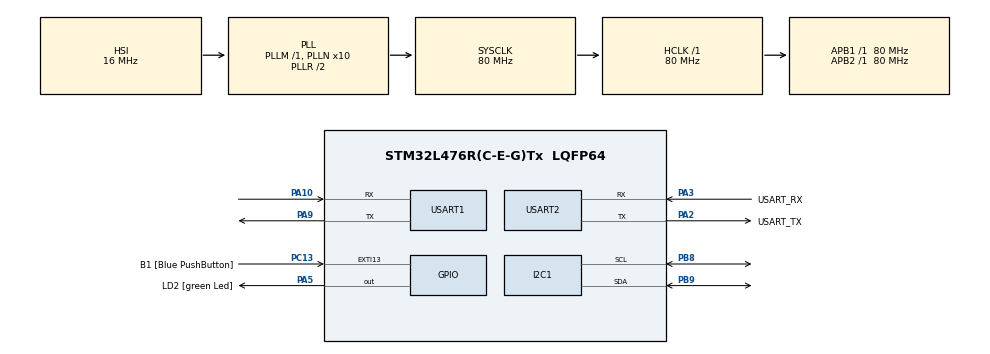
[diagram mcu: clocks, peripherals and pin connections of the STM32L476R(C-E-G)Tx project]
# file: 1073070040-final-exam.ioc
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I2C1.Timing=0x10909CEC
Mcu.Family=STM32L4
Mcu.Name=STM32L476R(C-E-G)Tx
Mcu.Package=LQFP64
NVIC.PriorityGroup=NVIC_PRIORITYGROUP_4
NVIC.USART1_IRQn=true\:0\:0\:false\:false\:true\:true\:true\:true
NVIC.USART2_IRQn=true\:0\:0\:false\:false\:true\:true\:true\:true
PA10.Mode=Asynchronous
PA10.Signal=USART1_RX
PA13\ (JTMS-SWDIO).GPIO_Label=TMS
PA13\ (JTMS-SWDIO).Mode=Serial_Wire
PA13\ (JTMS-SWDIO).Signal=SYS_JTMS-SWDIO
PA14\ (JTCK-SWCLK).GPIO_Label=TCK
PA14\ (JTCK-SWCLK).Mode=Serial_Wire
PA14\ (JTCK-SWCLK).Signal=SYS_JTCK-SWCLK
PA2.GPIO_Label=USART_TX
PA2.GPIO_Mode=GPIO_MODE_AF_PP
PA2.GPIO_PuPd=GPIO_NOPULL
PA2.GPIO_Speed=GPIO_SPEED_FREQ_VERY_HIGH
PA2.Mode=Asynchronous
PA2.Signal=USART2_TX
PA3.GPIO_Label=USART_RX
PA3.GPIO_Mode=GPIO_MODE_AF_PP
PA3.GPIO_PuPd=GPIO_NOPULL
PA3.GPIO_Speed=GPIO_SPEED_FREQ_VERY_HIGH
PA3.Mode=Asynchronous
PA3.Signal=USART2_RX
PA5.GPIO_Label=LD2 [green Led]
PA5.GPIO_ModeDefaultOutputPP=GPIO_MODE_OUTPUT_PP
PA5.GPIO_PuPd=GPIO_NOPULL
PA5.GPIO_Speed=GPIO_SPEED_FREQ_LOW
PA5.Signal=GPIO_Output
PA9.Mode=Asynchronous
PA9.Signal=USART1_TX
PB3\ (JTDO-TRACESWO).GPIO_Label=SWO
PB3\ (JTDO-TRACESWO).Signal=SYS_JTDO-SWO
PB8.Mode=I2C
PB8.Signal=I2C1_SCL
PB9.Mode=I2C
PB9.Signal=I2C1_SDA
PC13.GPIO_Label=B1 [Blue PushButton]
PC13.GPIO_ModeDefaultEXTI=GPIO_MODE_IT_FALLING
PC13.GPIO_PuPd=GPIO_NOPULL
PC13.Signal=GPXTI13
PC14-OSC32_IN\ (PC14).Mode=LSE-External-Oscillator
PC14-OSC32_IN\ (PC14).Signal=RCC_OSC32_IN
PC15-OSC32_OUT\ (PC15).Mode=LSE-External-Oscillator
PC15-OSC32_OUT\ (PC15).Signal=RCC_OSC32_OUT
PH0-OSC_IN\ (PH0).Signal=RCC_OSC_IN
PH1-OSC_OUT\ (PH1).Signal=RCC_OSC_OUT
ProjectManager.HeapSize=0x200
ProjectManager.StackSize=0x400
ProjectManager.TargetToolchain=STM32CubeIDE
RCC.ADCFreq_Value=64000000
RCC.AHBFreq_Value=80000000
RCC.APB1Freq_Value=80000000
RCC.APB1TimFreq_Value=80000000
RCC.APB2Freq_Value=80000000
RCC.APB2TimFreq_Value=80000000
RCC.CortexFreq_Value=80000000
RCC.HCLKFreq_Value=80000000
RCC.HSE_VALUE=8000000
RCC.HSI_VALUE=16000000
RCC.MSI_VALUE=4000000
RCC.PLLN=10
RCC.PLLSourceVirtual=RCC_PLLSOURCE_HSI
RCC.PREFETCH_ENABLE=1
RCC.SYSCLKFreq_VALUE=80000000
RCC.SYSCLKSource=RCC_SYSCLKSOURCE_PLLCLK
RCC.USBFreq_Value=64000000
RCC.VCOOutputFreq_Value=160000000
USART1.VirtualMode-Asynchronous=VM_ASYNC
USART2.VirtualMode-Asynchronous=VM_ASYNC
board=NUCLEO-L476RG

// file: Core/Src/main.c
/* USER CODE BEGIN Header */
/**
  ******************************************************************************
  * @file           : main.c
  * @brief          : Main program body
  ******************************************************************************
  * @attention
  *
  * Copyright (c) 2023 STMicroelectronics.
  * All rights reserved.
  *
  * This software is licensed under terms that can be found in the LICENSE file
  * in the root directory of this software component.
  * If no LICENSE file comes with this software, it is provided AS-IS.
  *
  ******************************************************************************
  */
/* USER CODE END Header */
#include "main.h"

/* USER CODE BEGIN Includes */
#include <ssd1306.h>
#include<ring_buffer.h>
#include "string.h"

/* USER CODE END Includes */

I2C_HandleTypeDef hi2c1;

UART_HandleTypeDef huart1;
UART_HandleTypeDef huart2;

void SystemClock_Config(void);
static void MX_GPIO_Init(void);
static void MX_USART2_UART_Init(void);
static void MX_I2C1_Init(void);
static void MX_USART1_UART_Init(void);

/* USER CODE BEGIN 0 */
ring_buffer_t ring_buffer_data;
uint8_t data[10];
uint8_t fail_counter;
ring_buffer_t ring_buffer_uart_rx;
uint8_t rx_buffer[16];
uint8_t rx_data[10];
uint8_t contcc;
uint8_t password[] = {1,0,7,3,0,7,0,0,4,0};
uint8_t error = 0;

void HAL_UART_RxCpltCallback(UART_HandleTypeDef *huart)
{
	ring_buffer_put(&ring_buffer_uart_rx, data);
	HAL_UART_Receive_IT(&huart2, &data, 1);
}

int memcmp(const void *str1, const void *str2, size_t n);
/* USER CODE END 0 */

int main(void)
{

  /* MCU Configuration--------------------------------------------------------*/

  /* Reset of all peripherals, Initializes the Flash interface and the Systick. */
  HAL_Init();

  /* Configure the system clock */
  SystemClock_Config();

  /* Initialize all configured peripherals */
  MX_GPIO_Init();
  MX_USART2_UART_Init();
  MX_I2C1_Init();
  MX_USART1_UART_Init();
  /* USER CODE BEGIN 2 */
  ssd1306_Init();
  ring_buffer_init(&ring_buffer_uart_rx, rx_buffer, 10);
  /* USER CODE END 2 */

  /* Infinite loop */
  /* USER CODE BEGIN WHILE */

  	  ssd1306_Fill(Black);
  	  ssd1306_SetCursor(20, 20);
  	  ssd1306_WriteString("WAITING...", Font_11x18, White);
  	  ssd1306_UpdateScreen();
  	  HAL_UART_Receive_IT(&huart2, rx_data, 1	);

  	while (1) {

  		if (data == 0) {
  		ring_buffer_reset(&ring_buffer_uart_rx);
  		memset(rx_buffer, '\0', sizeof(rx_buffer));
  		ssd1306_Fill(Black);
  		ssd1306_SetCursor(20, 20);
  		ssd1306_WriteString("WAITING...", Font_11x18, White);
  		ssd1306_UpdateScreen();
  	    HAL_Delay(1000); // Espera 1 segundo

  	    // Borra la pantalla OLED y muestra el contenido recibido
  	    ssd1306_Fill(Black);
  	    ssd1306_SetCursor(20, 20);
  	    ssd1306_WriteString(rx_data, Font_11x18, White);
  	    ssd1306_UpdateScreen();

  	    uint16_t size = ring_buffer_size(&ring_buffer_uart_rx); // Obtiene el tamaño del buffer

  	    ring_buffer_put(&ring_buffer_uart_rx, data); // Pone datos en el buffer
  	    contcc++; // Incrementa el contador

  	    // Cada 10 iteraciones, muestra la secuencia en la pantalla y reinicia el contador
  	    if (contcc == 10) {
  	        printf("The sequence is %x, %x, %x, %x, %x \r\n", rx_buffer[0], rx_buffer[1], rx_buffer[2], rx_buffer[3], rx_buffer[4]);
  	        contcc = 0; // Reinicia el contador
  	    }

  	    // Si se recibe algún dato, reinicia el buffer y la pantalla muestra 'WAITING...'

  	    }

  	    // Si la secuencia recibida coincide con la contraseña y el buffer está lleno, muestra 'PASS' en la pantalla
  	    if ((memcmp(rx_buffer, password, 10) == 0) && (ring_buffer_is_full(&ring_buffer_uart_rx) == 1)) {
  	        ssd1306_Fill(White);
  	        ssd1306_SetCursor(20, 20);
  	        ssd1306_WriteString("Success", Font_11x18, Black);
  	        ssd1306_UpdateScreen();
  	    }

  	    // Si la secuencia recibida no coincide con la contraseña y el buffer está lleno, muestra 'FAIL' en la pantalla
  	    if ((memcmp(rx_buffer, password, 10) != 0) && (ring_buffer_is_full(&ring_buffer_uart_rx) == 1)) {
  	        ssd1306_Fill(Black);
  	        ssd1306_SetCursor(20, 20);
  	        ssd1306_WriteString("Failed", Font_11x18, White);
  	        ssd1306_UpdateScreen();
  	        error ++;
  	        ring_buffer_reset(&ring_buffer_uart_rx);

  	    }
  	    HAL_Delay(1000);
  	    if (error == 3){
  	    	ssd1306_Fill(Black);
  	    	ssd1306_SetCursor(20, 20);
  	    	ssd1306_WriteString("Blocked", Font_11x18, White);
  	    	ssd1306_UpdateScreen();
  	    	HAL_Delay(1000);
  	    	error = 0; //Se reinicia el error a 0
  	    	        }
  	}
  	}
  /* USER CODE END 3 */

void SystemClock_Config(void)
{
  RCC_OscInitTypeDef RCC_OscInitStruct = {0};
  RCC_ClkInitTypeDef RCC_ClkInitStruct = {0};

  /** Configure the main internal regulator output voltage
  */
  if (HAL_PWREx_ControlVoltageScaling(PWR_REGULATOR_VOLTAGE_SCALE1) != HAL_OK)
  {
    Error_Handler();
  }

  /** Initializes the RCC Oscillators according to the specified parameters
  * in the RCC_OscInitTypeDef structure.
  */
  RCC_OscInitStruct.OscillatorType = RCC_OSCILLATORTYPE_HSI;
  RCC_OscInitStruct.HSIState = RCC_HSI_ON;
  RCC_OscInitStruct.HSICalibrationValue = RCC_HSICALIBRATION_DEFAULT;
  RCC_OscInitStruct.PLL.PLLState = RCC_PLL_ON;
  RCC_OscInitStruct.PLL.PLLSource = RCC_PLLSOURCE_HSI;
  RCC_OscInitStruct.PLL.PLLM = 1;
  RCC_OscInitStruct.PLL.PLLN = 10;
  RCC_OscInitStruct.PLL.PLLP = RCC_PLLP_DIV7;
  RCC_OscInitStruct.PLL.PLLQ = RCC_PLLQ_DIV2;
  RCC_OscInitStruct.PLL.PLLR = RCC_PLLR_DIV2;
  if (HAL_RCC_OscConfig(&RCC_OscInitStruct) != HAL_OK)
  {
    Error_Handler();
  }

  /** Initializes the CPU, AHB and APB buses clocks
  */
  RCC_ClkInitStruct.ClockType = RCC_CLOCKTYPE_HCLK|RCC_CLOCKTYPE_SYSCLK
                              |RCC_CLOCKTYPE_PCLK1|RCC_CLOCKTYPE_PCLK2;
  RCC_ClkInitStruct.SYSCLKSource = RCC_SYSCLKSOURCE_PLLCLK;
  RCC_ClkInitStruct.AHBCLKDivider = RCC_SYSCLK_DIV1;
  RCC_ClkInitStruct.APB1CLKDivider = RCC_HCLK_DIV1;
  RCC_ClkInitStruct.APB2CLKDivider = RCC_HCLK_DIV1;

  if (HAL_RCC_ClockConfig(&RCC_ClkInitStruct, FLASH_LATENCY_4) != HAL_OK)
  {
    Error_Handler();
  }
}

static void MX_I2C1_Init(void)
{

  hi2c1.Instance = I2C1;
  hi2c1.Init.Timing = 0x10909CEC;
  hi2c1.Init.OwnAddress1 = 0;
  hi2c1.Init.AddressingMode = I2C_ADDRESSINGMODE_7BIT;
  hi2c1.Init.DualAddressMode = I2C_DUALADDRESS_DISABLE;
  hi2c1.Init.OwnAddress2 = 0;
  hi2c1.Init.OwnAddress2Masks = I2C_OA2_NOMASK;
  hi2c1.Init.GeneralCallMode = I2C_GENERALCALL_DISABLE;
  hi2c1.Init.NoStretchMode = I2C_NOSTRETCH_DISABLE;
  if (HAL_I2C_Init(&hi2c1) != HAL_OK)
  {
    Error_Handler();
  }

  /** Configure Analogue filter
  */
  if (HAL_I2CEx_ConfigAnalogFilter(&hi2c1, I2C_ANALOGFILTER_ENABLE) != HAL_OK)
  {
    Error_Handler();
  }

  /** Configure Digital filter
  */
  if (HAL_I2CEx_ConfigDigitalFilter(&hi2c1, 0) != HAL_OK)
  {
    Error_Handler();
  }

}

static void MX_USART1_UART_Init(void)
{

  huart1.Instance = USART1;
  huart1.Init.BaudRate = 115200;
  huart1.Init.WordLength = UART_WORDLENGTH_8B;
  huart1.Init.StopBits = UART_STOPBITS_1;
  huart1.Init.Parity = UART_PARITY_NONE;
  huart1.Init.Mode = UART_MODE_TX_RX;
  huart1.Init.HwFlowCtl = UART_HWCONTROL_NONE;
  huart1.Init.OverSampling = UART_OVERSAMPLING_16;
  huart1.Init.OneBitSampling = UART_ONE_BIT_SAMPLE_DISABLE;
  huart1.AdvancedInit.AdvFeatureInit = UART_ADVFEATURE_NO_INIT;
  if (HAL_UART_Init(&huart1) != HAL_OK)
  {
    Error_Handler();
  }

}

static void MX_USART2_UART_Init(void)
{

  huart2.Instance = USART2;
  huart2.Init.BaudRate = 115200;
  huart2.Init.WordLength = UART_WORDLENGTH_8B;
  huart2.Init.StopBits = UART_STOPBITS_1;
  huart2.Init.Parity = UART_PARITY_NONE;
  huart2.Init.Mode = UART_MODE_TX_RX;
  huart2.Init.HwFlowCtl = UART_HWCONTROL_NONE;
  huart2.Init.OverSampling = UART_OVERSAMPLING_16;
  huart2.Init.OneBitSampling = UART_ONE_BIT_SAMPLE_DISABLE;
  huart2.AdvancedInit.AdvFeatureInit = UART_ADVFEATURE_NO_INIT;
  if (HAL_UART_Init(&huart2) != HAL_OK)
  {
    Error_Handler();
  }

}

static void MX_GPIO_Init(void)
{
  GPIO_InitTypeDef GPIO_InitStruct = {0};

  /* GPIO Ports Clock Enable */
  __HAL_RCC_GPIOC_CLK_ENABLE();
  __HAL_RCC_GPIOH_CLK_ENABLE();
  __HAL_RCC_GPIOA_CLK_ENABLE();
  __HAL_RCC_GPIOB_CLK_ENABLE();

  /*Configure GPIO pin Output Level */
  HAL_GPIO_WritePin(LD2_GPIO_Port, LD2_Pin, GPIO_PIN_RESET);

  /*Configure GPIO pin : B1_Pin */
  GPIO_InitStruct.Pin = B1_Pin;
  GPIO_InitStruct.Mode = GPIO_MODE_IT_FALLING;
  GPIO_InitStruct.Pull = GPIO_NOPULL;
  HAL_GPIO_Init(B1_GPIO_Port, &GPIO_InitStruct);

  /*Configure GPIO pin : LD2_Pin */
  GPIO_InitStruct.Pin = LD2_Pin;
  GPIO_InitStruct.Mode = GPIO_MODE_OUTPUT_PP;
  GPIO_InitStruct.Pull = GPIO_NOPULL;
  GPIO_InitStruct.Speed = GPIO_SPEED_FREQ_LOW;
  HAL_GPIO_Init(LD2_GPIO_Port, &GPIO_InitStruct);

}

void Error_Handler(void)
{
  __disable_irq();
  while (1)
  {
  }
}
